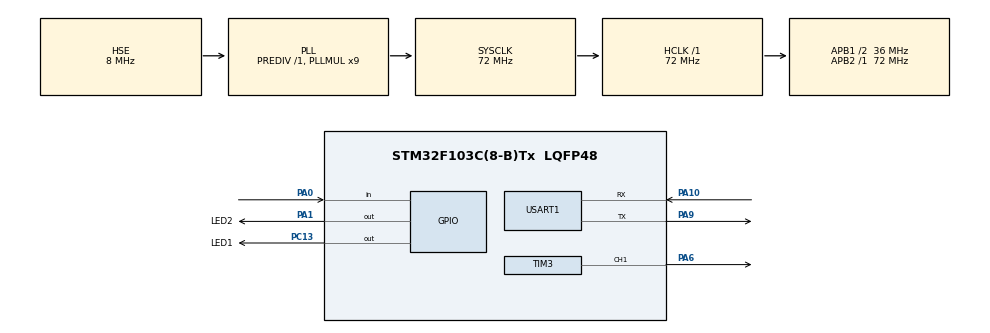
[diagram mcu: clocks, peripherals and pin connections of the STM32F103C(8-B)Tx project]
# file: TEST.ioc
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Mcu.Family=STM32F1
Mcu.Name=STM32F103C(8-B)Tx
Mcu.Package=LQFP48
NVIC.PriorityGroup=NVIC_PRIORITYGROUP_4
NVIC.TIM2_IRQn=true\:0\:0\:false\:false\:true\:true\:true\:true
NVIC.USART1_IRQn=true\:0\:0\:false\:false\:true\:true\:true\:true
PA0-WKUP.GPIO_PuPd=GPIO_PULLUP
PA0-WKUP.Signal=GPIO_Input
PA1.GPIO_Label=LED2
PA1.Signal=GPIO_Output
PA10.Mode=Asynchronous
PA10.Signal=USART1_RX
PA13.Mode=Serial_Wire
PA13.Signal=SYS_JTMS-SWDIO
PA14.Mode=Serial_Wire
PA14.Signal=SYS_JTCK-SWCLK
PA6.Signal=S_TIM3_CH1
PA9.Mode=Asynchronous
PA9.Signal=USART1_TX
PC13-TAMPER-RTC.GPIO_Label=LED1
PC13-TAMPER-RTC.PinState=GPIO_PIN_SET
PC13-TAMPER-RTC.Signal=GPIO_Output
PD0-OSC_IN.Mode=HSE-External-Oscillator
PD0-OSC_IN.Signal=RCC_OSC_IN
PD1-OSC_OUT.Mode=HSE-External-Oscillator
PD1-OSC_OUT.Signal=RCC_OSC_OUT
ProjectManager.HeapSize=0x200
ProjectManager.StackSize=0x400
ProjectManager.TargetToolchain=CMake
RCC.AHBFreq_Value=72000000
RCC.APB1CLKDivider=RCC_HCLK_DIV2
RCC.APB1Freq_Value=36000000
RCC.APB1TimFreq_Value=72000000
RCC.APB2Freq_Value=72000000
RCC.APB2TimFreq_Value=72000000
RCC.HCLKFreq_Value=72000000
RCC.PLLMUL=RCC_PLL_MUL9
RCC.PLLSourceVirtual=RCC_PLLSOURCE_HSE
RCC.SYSCLKFreq_VALUE=72000000
RCC.SYSCLKSource=RCC_SYSCLKSOURCE_PLLCLK
RCC.USBFreq_Value=72000000
SH.S_TIM3_CH1.0=TIM3_CH1,PWM Generation1 CH1
TIM2.AutoReloadPreload=TIM_AUTORELOAD_PRELOAD_ENABLE
TIM2.Period=9
TIM2.Prescaler=7199
TIM3.AutoReloadPreload=TIM_AUTORELOAD_PRELOAD_ENABLE
TIM3.Channel-PWM\ Generation1\ CH1=TIM_CHANNEL_1
TIM3.Period=999
TIM3.Prescaler=71
USART1.VirtualMode=VM_ASYNC
VP_TIM2_VS_ClockSourceINT.Mode=Internal
VP_TIM3_VS_ClockSourceINT.Mode=Internal
board=custom

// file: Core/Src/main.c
/* USER CODE BEGIN Header */
/**
  ******************************************************************************
  * @file           : main.c
  * @brief          : Main program body
  ******************************************************************************
  * @attention
  *
  * Copyright (c) 2026 STMicroelectronics.
  * All rights reserved.
  *
  * This software is licensed under terms that can be found in the LICENSE file
  * in the root directory of this software component.
  * If no LICENSE file comes with this software, it is provided AS-IS.
  *
  ******************************************************************************
  */
/* USER CODE END Header */
#include "main.h"
#include "tim.h"
#include "usart.h"
#include "gpio.h"

/* USER CODE BEGIN Includes */
#include <stdarg.h>
#include <stdio.h>
#include <string.h>

/* USER CODE END Includes */

/* USER CODE BEGIN PV */
typedef enum
{
  LED_MODE_BREATH = 0U,
  LED_MODE_BLINK,
  LED_MODE_OFF
} LedMode;

#define UART_LINE_SIZE 32U
#define UART_QUEUE_SIZE 4U
#define PWM_MAX_DUTY 1000U

static volatile uint8_t led_mode = LED_MODE_BREATH;
static volatile uint8_t breath_speed = 1U;
static uint8_t uart_rx_byte;
static char uart_rx_line[UART_LINE_SIZE];
static uint8_t uart_rx_length;
static uint8_t uart_rx_discarding;
static char uart_rx_queue[UART_QUEUE_SIZE][UART_LINE_SIZE];
static volatile uint8_t uart_rx_queue_head;
static volatile uint8_t uart_rx_queue_tail;
static volatile uint32_t uart_rejected_lines;
static volatile uint32_t uart_error_count;
static volatile uint8_t uart_rx_restart_failed;

/* USER CODE END PV */

void SystemClock_Config(void);
/* USER CODE BEGIN PFP */
static void UART_ProcessCommands(void);
static void UART_ProcessCommand(const char *command);
static void UART_Printf(const char *format, ...);
static void UART_ReportReceiveErrors(void);
static uint8_t UART_GetLine(char *line);
static const char *UART_ModeName(uint8_t mode);

/* USER CODE END PFP */

int main(void)
{

  /* MCU Configuration--------------------------------------------------------*/

  /* Reset of all peripherals, Initializes the Flash interface and the Systick. */
  HAL_Init();

  /* Configure the system clock */
  SystemClock_Config();

  /* Initialize all configured peripherals */
  MX_GPIO_Init();
  MX_TIM2_Init();
  MX_TIM3_Init();
  MX_USART1_UART_Init();
  /* USER CODE BEGIN 2 */
  __HAL_TIM_SET_COMPARE(&htim3, TIM_CHANNEL_1, 0U);
  if (HAL_TIM_PWM_Start(&htim3, TIM_CHANNEL_1) != HAL_OK)
  {
    Error_Handler();
  }
  if (HAL_TIM_Base_Start_IT(&htim2) != HAL_OK)
  {
    Error_Handler();
  }
  if (HAL_UART_Receive_IT(&huart1, &uart_rx_byte, 1U) != HAL_OK)
  {
    Error_Handler();
  }
  UART_Printf("Breathing LED ready (PA6, 1 kHz). Commands: SPD=1..10, "
              "MODE=BREATH|BLINK|OFF, ?\r\n");
  /* USER CODE END 2 */

  /* Infinite loop */
  while (1)
  {

    /* USER CODE BEGIN 3 */
    UART_ProcessCommands();
    UART_ReportReceiveErrors();
  }
  /* USER CODE END 3 */
}

void SystemClock_Config(void)
{
  RCC_OscInitTypeDef RCC_OscInitStruct = {0};
  RCC_ClkInitTypeDef RCC_ClkInitStruct = {0};

  /** Initializes the RCC Oscillators according to the specified parameters
  * in the RCC_OscInitTypeDef structure.
  */
  RCC_OscInitStruct.OscillatorType = RCC_OSCILLATORTYPE_HSE;
  RCC_OscInitStruct.HSEState = RCC_HSE_ON;
  RCC_OscInitStruct.HSEPredivValue = RCC_HSE_PREDIV_DIV1;
  RCC_OscInitStruct.HSIState = RCC_HSI_ON;
  RCC_OscInitStruct.PLL.PLLState = RCC_PLL_ON;
  RCC_OscInitStruct.PLL.PLLSource = RCC_PLLSOURCE_HSE;
  RCC_OscInitStruct.PLL.PLLMUL = RCC_PLL_MUL9;
  if (HAL_RCC_OscConfig(&RCC_OscInitStruct) != HAL_OK)
  {
    Error_Handler();
  }

  /** Initializes the CPU, AHB and APB buses clocks
  */
  RCC_ClkInitStruct.ClockType = RCC_CLOCKTYPE_HCLK|RCC_CLOCKTYPE_SYSCLK
                              |RCC_CLOCKTYPE_PCLK1|RCC_CLOCKTYPE_PCLK2;
  RCC_ClkInitStruct.SYSCLKSource = RCC_SYSCLKSOURCE_PLLCLK;
  RCC_ClkInitStruct.AHBCLKDivider = RCC_SYSCLK_DIV1;
  RCC_ClkInitStruct.APB1CLKDivider = RCC_HCLK_DIV2;
  RCC_ClkInitStruct.APB2CLKDivider = RCC_HCLK_DIV1;

  if (HAL_RCC_ClockConfig(&RCC_ClkInitStruct, FLASH_LATENCY_2) != HAL_OK)
  {
    Error_Handler();
  }
}

/* USER CODE BEGIN 4 */
static void UART_Printf(const char *format, ...)
{
  char message[112];
  int message_length;
  va_list arguments;

  va_start(arguments, format);
  message_length = vsnprintf(message, sizeof(message), format, arguments);
  va_end(arguments);
  if ((message_length < 0) || ((size_t)message_length >= sizeof(message)))
  {
    Error_Handler();
  }
  if (HAL_UART_Transmit(&huart1, (uint8_t *)message,
                        (uint16_t)message_length, HAL_MAX_DELAY) != HAL_OK)
  {
    Error_Handler();
  }
}

static const char *UART_ModeName(uint8_t mode)
{
  switch (mode)
  {
    case LED_MODE_BREATH:
      return "BREATH";
    case LED_MODE_BLINK:
      return "BLINK";
    case LED_MODE_OFF:
      return "OFF";
    default:
      Error_Handler();
      return "";
  }
}

static void UART_ProcessCommand(const char *command)
{
  uint8_t command_length = (uint8_t)strlen(command);

  if (strcmp(command, "?") == 0)
  {
    UART_Printf("MODE=%s SPD=%u\r\n",
                UART_ModeName(led_mode), (unsigned int)breath_speed);
  }
  else if ((command_length >= 5U) && (strncmp(command, "SPD=", 4U) == 0))
  {
    uint8_t new_speed;

    if ((command_length == 5U) &&
        (command[4] >= '1') && (command[4] <= '9'))
    {
      new_speed = (uint8_t)(command[4] - '0');
    }
    else if ((command_length == 6U) &&
             (command[4] == '1') && (command[5] == '0'))
    {
      new_speed = 10U;
    }
    else
    {
      UART_Printf("ERR: invalid command\r\n");
      return;
    }

    breath_speed = new_speed;
    UART_Printf("OK SPD=%u\r\n", (unsigned int)breath_speed);
  }
  else if (strcmp(command, "MODE=BREATH") == 0)
  {
    led_mode = LED_MODE_BREATH;
    UART_Printf("OK MODE=BREATH\r\n");
  }
  else if (strcmp(command, "MODE=BLINK") == 0)
  {
    led_mode = LED_MODE_BLINK;
    UART_Printf("OK MODE=BLINK\r\n");
  }
  else if (strcmp(command, "MODE=OFF") == 0)
  {
    led_mode = LED_MODE_OFF;
    UART_Printf("OK MODE=OFF\r\n");
  }
  else
  {
    UART_Printf("ERR: invalid command\r\n");
  }
}

static uint8_t UART_GetLine(char *line)
{
  uint8_t has_line = 0U;
  uint32_t primask = __get_PRIMASK();

  __disable_irq();
  if (uart_rx_queue_tail != uart_rx_queue_head)
  {
    memcpy(line, uart_rx_queue[uart_rx_queue_tail], UART_LINE_SIZE);
    uart_rx_queue_tail =
      (uint8_t)((uart_rx_queue_tail + 1U) % UART_QUEUE_SIZE);
    has_line = 1U;
  }
  if (primask == 0U)
  {
    __enable_irq();
  }

  return has_line;
}

static void UART_ProcessCommands(void)
{
  char command[UART_LINE_SIZE];

  while (UART_GetLine(command) != 0U)
  {
    UART_ProcessCommand(command);
  }
}

static void UART_ReportReceiveErrors(void)
{
  uint32_t rejected;
  uint32_t uart_errors;
  uint8_t restart_failed;
  uint32_t primask = __get_PRIMASK();

  __disable_irq();
  rejected = uart_rejected_lines;
  uart_rejected_lines = 0U;
  uart_errors = uart_error_count;
  uart_error_count = 0U;
  restart_failed = uart_rx_restart_failed;
  uart_rx_restart_failed = 0U;
  if (primask == 0U)
  {
    __enable_irq();
  }

  if (rejected != 0U)
  {
    UART_Printf("ERR: %lu command line(s) rejected\r\n",
                (unsigned long)rejected);
  }
  if (uart_errors != 0U)
  {
    UART_Printf("ERR: %lu UART receive error(s)\r\n",
                (unsigned long)uart_errors);
  }
  if (restart_failed != 0U)
  {
    UART_Printf("ERR: UART receive restart failed\r\n");
    if (HAL_UART_Receive_IT(&huart1, &uart_rx_byte, 1U) != HAL_OK)
    {
      Error_Handler();
    }
  }
}

void HAL_TIM_PeriodElapsedCallback(TIM_HandleTypeDef *htim)
{
  if (htim->Instance == TIM2)
  {
    static uint8_t update_divider;
    static uint8_t active_mode = 0xFFU;
    static uint8_t blink_ticks;
    static uint8_t blink_on;
    static uint8_t breath_increasing = 1U;
    static uint16_t brightness;

    update_divider++;
    if (update_divider >= 10U)
    {
      uint8_t mode = led_mode;
      uint16_t step = (uint16_t)breath_speed * 5U;

      update_divider = 0U;
      if (mode != active_mode)
      {
        active_mode = mode;
        brightness = 0U;
        breath_increasing = 1U;
        blink_ticks = 0U;
        blink_on = 0U;
      }

      switch (mode)
      {
        case LED_MODE_BREATH:
          if (breath_increasing != 0U)
          {
            if ((uint16_t)(brightness + step) >= PWM_MAX_DUTY)
            {
              brightness = PWM_MAX_DUTY;
              breath_increasing = 0U;
            }
            else
            {
              brightness = (uint16_t)(brightness + step);
            }
          }
          else if (brightness <= step)
          {
            brightness = 0U;
            breath_increasing = 1U;
          }
          else
          {
            brightness = (uint16_t)(brightness - step);
          }
          __HAL_TIM_SET_COMPARE(&htim3, TIM_CHANNEL_1, brightness);
          break;

        case LED_MODE_BLINK:
          blink_ticks++;
          if (blink_ticks >= 50U)
          {
            blink_ticks = 0U;
            blink_on = (uint8_t)!blink_on;
          }
          __HAL_TIM_SET_COMPARE(&htim3, TIM_CHANNEL_1,
                                (blink_on != 0U) ? PWM_MAX_DUTY : 0U);
          break;

        case LED_MODE_OFF:
          __HAL_TIM_SET_COMPARE(&htim3, TIM_CHANNEL_1, 0U);
          break;

        default:
          __HAL_TIM_SET_COMPARE(&htim3, TIM_CHANNEL_1, 0U);
          break;
      }
    }
  }
}

void HAL_UART_RxCpltCallback(UART_HandleTypeDef *huart)
{
  if (huart->Instance == USART1)
  {
    uint8_t received = uart_rx_byte;

    if ((received == '\r') || (received == '\n'))
    {
      if (uart_rx_discarding != 0U)
      {
        uart_rejected_lines++;
      }
      else if (uart_rx_length != 0U)
      {
        uint8_t next_head =
          (uint8_t)((uart_rx_queue_head + 1U) % UART_QUEUE_SIZE);

        if (next_head == uart_rx_queue_tail)
        {
          uart_rejected_lines++;
        }
        else
        {
          uart_rx_line[uart_rx_length] = '\0';
          memcpy(uart_rx_queue[uart_rx_queue_head], uart_rx_line,
                 (size_t)uart_rx_length + 1U);
          uart_rx_queue_head = next_head;
        }
      }
      uart_rx_length = 0U;
      uart_rx_discarding = 0U;
    }
    else if (uart_rx_discarding == 0U)
    {
      if (uart_rx_length < (UART_LINE_SIZE - 1U))
      {
        uart_rx_line[uart_rx_length] = (char)received;
        uart_rx_length++;
      }
      else
      {
        uart_rx_discarding = 1U;
      }
    }

    if (HAL_UART_Receive_IT(&huart1, &uart_rx_byte, 1U) != HAL_OK)
    {
      uart_rx_restart_failed = 1U;
    }
  }
}

void HAL_UART_ErrorCallback(UART_HandleTypeDef *huart)
{
  if (huart->Instance == USART1)
  {
    uart_error_count++;
    if (HAL_UART_Receive_IT(&huart1, &uart_rx_byte, 1U) != HAL_OK)
    {
      uart_rx_restart_failed = 1U;
    }
  }
}

/* USER CODE END 4 */

void Error_Handler(void)
{
  __disable_irq();
  while (1)
  {
  }
}
